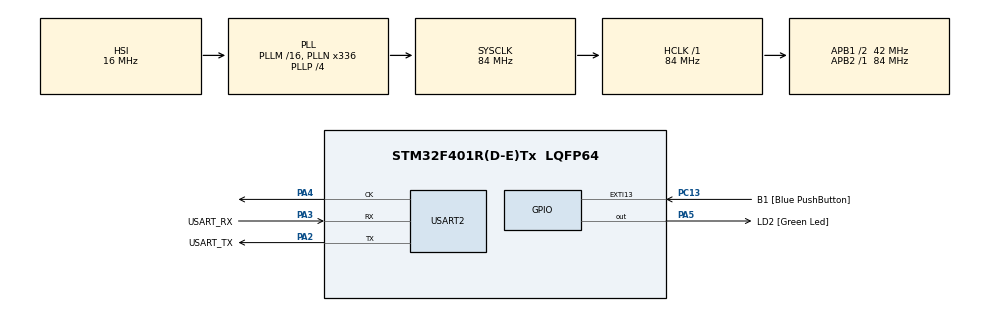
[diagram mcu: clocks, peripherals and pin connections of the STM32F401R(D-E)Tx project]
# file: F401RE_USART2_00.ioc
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Mcu.Family=STM32F4
Mcu.Name=STM32F401R(D-E)Tx
Mcu.Package=LQFP64
NVIC.PriorityGroup=NVIC_PRIORITYGROUP_0
NVIC.USART2_IRQn=true\:0\:0\:false\:false\:true
PA13.GPIO_Label=TMS
PA13.Signal=SYS_JTMS-SWDIO
PA14.GPIO_Label=TCK
PA14.Signal=SYS_JTCK-SWCLK
PA2.GPIO_Label=USART_TX
PA2.GPIO_Mode=GPIO_MODE_AF_PP
PA2.GPIO_PuPd=GPIO_NOPULL
PA2.GPIO_Speed=GPIO_SPEED_FREQ_LOW
PA2.Mode=Synchronous
PA2.Signal=USART2_TX
PA3.GPIO_Label=USART_RX
PA3.GPIO_Mode=GPIO_MODE_AF_PP
PA3.GPIO_PuPd=GPIO_NOPULL
PA3.GPIO_Speed=GPIO_SPEED_FREQ_LOW
PA3.Mode=Synchronous
PA3.Signal=USART2_RX
PA4.Mode=Synchronous
PA4.Signal=USART2_CK
PA5.GPIO_Label=LD2 [Green Led]
PA5.GPIO_Mode=GPIO_MODE_OUTPUT_PP
PA5.GPIO_PuPd=GPIO_NOPULL
PA5.GPIO_Speed=GPIO_SPEED_FREQ_LOW
PA5.Signal=GPIO_Output
PB3.GPIO_Label=SWO
PB3.Signal=SYS_JTDO-SWO
PC13-ANTI_TAMP.GPIO_Label=B1 [Blue PushButton]
PC13-ANTI_TAMP.GPIO_ModeDefaultEXTI=GPIO_MODE_EVT_RISING
PC13-ANTI_TAMP.GPIO_PuPd=GPIO_NOPULL
PC13-ANTI_TAMP.Signal=GPXTI13
PC14-OSC32_IN.Signal=RCC_OSC32_IN
PC15-OSC32_OUT.Signal=RCC_OSC32_OUT
PH0\ -\ OSC_IN.Signal=RCC_OSC_IN
PH1\ -\ OSC_OUT.Signal=RCC_OSC_OUT
ProjectManager.HeapSize=0x200
ProjectManager.StackSize=0x400
ProjectManager.TargetToolchain=MDK-ARM V5
RCC.AHBFreq_Value=84000000
RCC.APB1CLKDivider=RCC_HCLK_DIV2
RCC.APB1Freq_Value=42000000
RCC.APB1TimFreq_Value=84000000
RCC.APB2Freq_Value=84000000
RCC.APB2TimFreq_Value=84000000
RCC.CortexFreq_Value=84000000
RCC.HCLKFreq_Value=84000000
RCC.HSE_VALUE=8000000
RCC.HSI_VALUE=16000000
RCC.LSE_VALUE=32768
RCC.PLLN=336
RCC.PLLP=RCC_PLLP_DIV4
RCC.PLLQ=7
RCC.SYSCLKFreq_VALUE=84000000
RCC.SYSCLKSource=RCC_SYSCLKSOURCE_PLLCLK
RCC.VCOOutputFreq_Value=336000000
USART2.VirtualMode=VM_SYNC
USART2.WordLength=USART_WORDLENGTH_8B
board=NUCLEO-F401RE

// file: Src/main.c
/**
  ******************************************************************************
  * File Name          : main.c
  * Description        : Main program body
  ******************************************************************************
  *
  * COPYRIGHT(c) 2016 STMicroelectronics
  *
  * Redistribution and use in source and binary forms, with or without modification,
  * are permitted provided that the following conditions are met:
  *   1. Redistributions of source code must retain the above copyright notice,
  *      this list of conditions and the following disclaimer.
  *   2. Redistributions in binary form must reproduce the above copyright notice,
  *      this list of conditions and the following disclaimer in the documentation
  *      and/or other materials provided with the distribution.
  *   3. Neither the name of STMicroelectronics nor the names of its contributors
  *      may be used to endorse or promote products derived from this software
  *      without specific prior written permission.
  *
  * THIS SOFTWARE IS PROVIDED BY THE COPYRIGHT HOLDERS AND CONTRIBUTORS "AS IS"
  * AND ANY EXPRESS OR IMPLIED WARRANTIES, INCLUDING, BUT NOT LIMITED TO, THE
  * IMPLIED WARRANTIES OF MERCHANTABILITY AND FITNESS FOR A PARTICULAR PURPOSE ARE
  * DISCLAIMED. IN NO EVENT SHALL THE COPYRIGHT HOLDER OR CONTRIBUTORS BE LIABLE
  * FOR ANY DIRECT, INDIRECT, INCIDENTAL, SPECIAL, EXEMPLARY, OR CONSEQUENTIAL
  * DAMAGES (INCLUDING, BUT NOT LIMITED TO, PROCUREMENT OF SUBSTITUTE GOODS OR
  * SERVICES; LOSS OF USE, DATA, OR PROFITS; OR BUSINESS INTERRUPTION) HOWEVER
  * CAUSED AND ON ANY THEORY OF LIABILITY, WHETHER IN CONTRACT, STRICT LIABILITY,
  * OR TORT (INCLUDING NEGLIGENCE OR OTHERWISE) ARISING IN ANY WAY OUT OF THE USE
  * OF THIS SOFTWARE, EVEN IF ADVISED OF THE POSSIBILITY OF SUCH DAMAGE.
  *
  ******************************************************************************
  */
#include "stm32f4xx_hal.h"

/* USER CODE BEGIN Includes */
#include <stdio.h>
#include <string.h>
/* USER CODE END Includes */

USART_HandleTypeDef husart2;

/* USER CODE BEGIN PV */
/* Private variables ---------------------------------------------------------*/

/* USER CODE END PV */

void SystemClock_Config(void);
void Error_Handler(void);
static void MX_GPIO_Init(void);
static void MX_USART2_Init(void);

/* USER CODE BEGIN PFP */
/* Private function prototypes -----------------------------------------------*/
char sio_getc(void);		// UARTから1文字取得
void sio_putc(char);		// UARTに1文字を出力
void sio_puts(char *);	// UARTに文字列を出力

char sio_getc()
{
	char ch;
	while(HAL_USART_Receive(&husart2, (uint8_t *)&ch, 1, 1000)==HAL_TIMEOUT) ;
	return ch;
}

void sio_putc(char ch)
{
	HAL_USART_Transmit(&husart2, (uint8_t *)&ch, 1, 1000);
}

void sio_puts(char *str)
{
	HAL_USART_Transmit(&husart2, (uint8_t *)str, strlen(str), 1000);
}
/* USER CODE END PFP */

int main(void)
{

  /* USER CODE BEGIN 1 */
	int ch;

  /* USER CODE END 1 */

  /* MCU Configuration----------------------------------------------------------*/

  /* Reset of all peripherals, Initializes the Flash interface and the Systick. */
  HAL_Init();

  /* Configure the system clock */
  SystemClock_Config();

  /* Initialize all configured peripherals */
  MX_GPIO_Init();
  MX_USART2_Init();

  /* USER CODE BEGIN 2 */
	sio_puts("F401RE-USART2\n");

  /* USER CODE END 2 */

  /* Infinite loop */
  while (1)
  {

  }

}

/** System Clock Configuration
*/
void SystemClock_Config(void)
{

  RCC_OscInitTypeDef RCC_OscInitStruct;
  RCC_ClkInitTypeDef RCC_ClkInitStruct;

  __HAL_RCC_PWR_CLK_ENABLE();

  __HAL_PWR_VOLTAGESCALING_CONFIG(PWR_REGULATOR_VOLTAGE_SCALE2);

  RCC_OscInitStruct.OscillatorType = RCC_OSCILLATORTYPE_HSI;
  RCC_OscInitStruct.HSIState = RCC_HSI_ON;
  RCC_OscInitStruct.HSICalibrationValue = 16;
  RCC_OscInitStruct.PLL.PLLState = RCC_PLL_ON;
  RCC_OscInitStruct.PLL.PLLSource = RCC_PLLSOURCE_HSI;
  RCC_OscInitStruct.PLL.PLLM = 16;
  RCC_OscInitStruct.PLL.PLLN = 336;
  RCC_OscInitStruct.PLL.PLLP = RCC_PLLP_DIV4;
  RCC_OscInitStruct.PLL.PLLQ = 7;
  if (HAL_RCC_OscConfig(&RCC_OscInitStruct) != HAL_OK)
  {
    Error_Handler();
  }

  RCC_ClkInitStruct.ClockType = RCC_CLOCKTYPE_HCLK|RCC_CLOCKTYPE_SYSCLK
                              |RCC_CLOCKTYPE_PCLK1|RCC_CLOCKTYPE_PCLK2;
  RCC_ClkInitStruct.SYSCLKSource = RCC_SYSCLKSOURCE_PLLCLK;
  RCC_ClkInitStruct.AHBCLKDivider = RCC_SYSCLK_DIV1;
  RCC_ClkInitStruct.APB1CLKDivider = RCC_HCLK_DIV2;
  RCC_ClkInitStruct.APB2CLKDivider = RCC_HCLK_DIV1;
  if (HAL_RCC_ClockConfig(&RCC_ClkInitStruct, FLASH_LATENCY_2) != HAL_OK)
  {
    Error_Handler();
  }

  HAL_SYSTICK_Config(HAL_RCC_GetHCLKFreq()/1000);

  HAL_SYSTICK_CLKSourceConfig(SYSTICK_CLKSOURCE_HCLK);

  /* SysTick_IRQn interrupt configuration */
  HAL_NVIC_SetPriority(SysTick_IRQn, 0, 0);
}

/* USART2 init function */
static void MX_USART2_Init(void)
{

  husart2.Instance = USART2;
  husart2.Init.BaudRate = 115200;
  husart2.Init.WordLength = USART_WORDLENGTH_8B;
  husart2.Init.StopBits = USART_STOPBITS_1;
  husart2.Init.Parity = USART_PARITY_NONE;
  husart2.Init.Mode = USART_MODE_TX_RX;
  husart2.Init.CLKPolarity = USART_POLARITY_LOW;
  husart2.Init.CLKPhase = USART_PHASE_1EDGE;
  husart2.Init.CLKLastBit = USART_LASTBIT_DISABLE;
  if (HAL_USART_Init(&husart2) != HAL_OK)
  {
    Error_Handler();
  }

}

/** Configure pins as
        * Analog
        * Input
        * Output
        * EVENT_OUT
        * EXTI
*/
static void MX_GPIO_Init(void)
{

  GPIO_InitTypeDef GPIO_InitStruct;

  /* GPIO Ports Clock Enable */
  __HAL_RCC_GPIOC_CLK_ENABLE();
  __HAL_RCC_GPIOH_CLK_ENABLE();
  __HAL_RCC_GPIOA_CLK_ENABLE();
  __HAL_RCC_GPIOB_CLK_ENABLE();

  /*Configure GPIO pin : B1_Pin */
  GPIO_InitStruct.Pin = B1_Pin;
  GPIO_InitStruct.Mode = GPIO_MODE_EVT_RISING;
  GPIO_InitStruct.Pull = GPIO_NOPULL;
  HAL_GPIO_Init(B1_GPIO_Port, &GPIO_InitStruct);

  /*Configure GPIO pin : LD2_Pin */
  GPIO_InitStruct.Pin = LD2_Pin;
  GPIO_InitStruct.Mode = GPIO_MODE_OUTPUT_PP;
  GPIO_InitStruct.Pull = GPIO_NOPULL;
  GPIO_InitStruct.Speed = GPIO_SPEED_FREQ_LOW;
  HAL_GPIO_Init(LD2_GPIO_Port, &GPIO_InitStruct);

  /*Configure GPIO pin Output Level */
  HAL_GPIO_WritePin(LD2_GPIO_Port, LD2_Pin, GPIO_PIN_RESET);

}

void Error_Handler(void)
{
  while(1)
  {
  }
}

/************************ (C) COPYRIGHT STMicroelectronics *****END OF FILE****/
